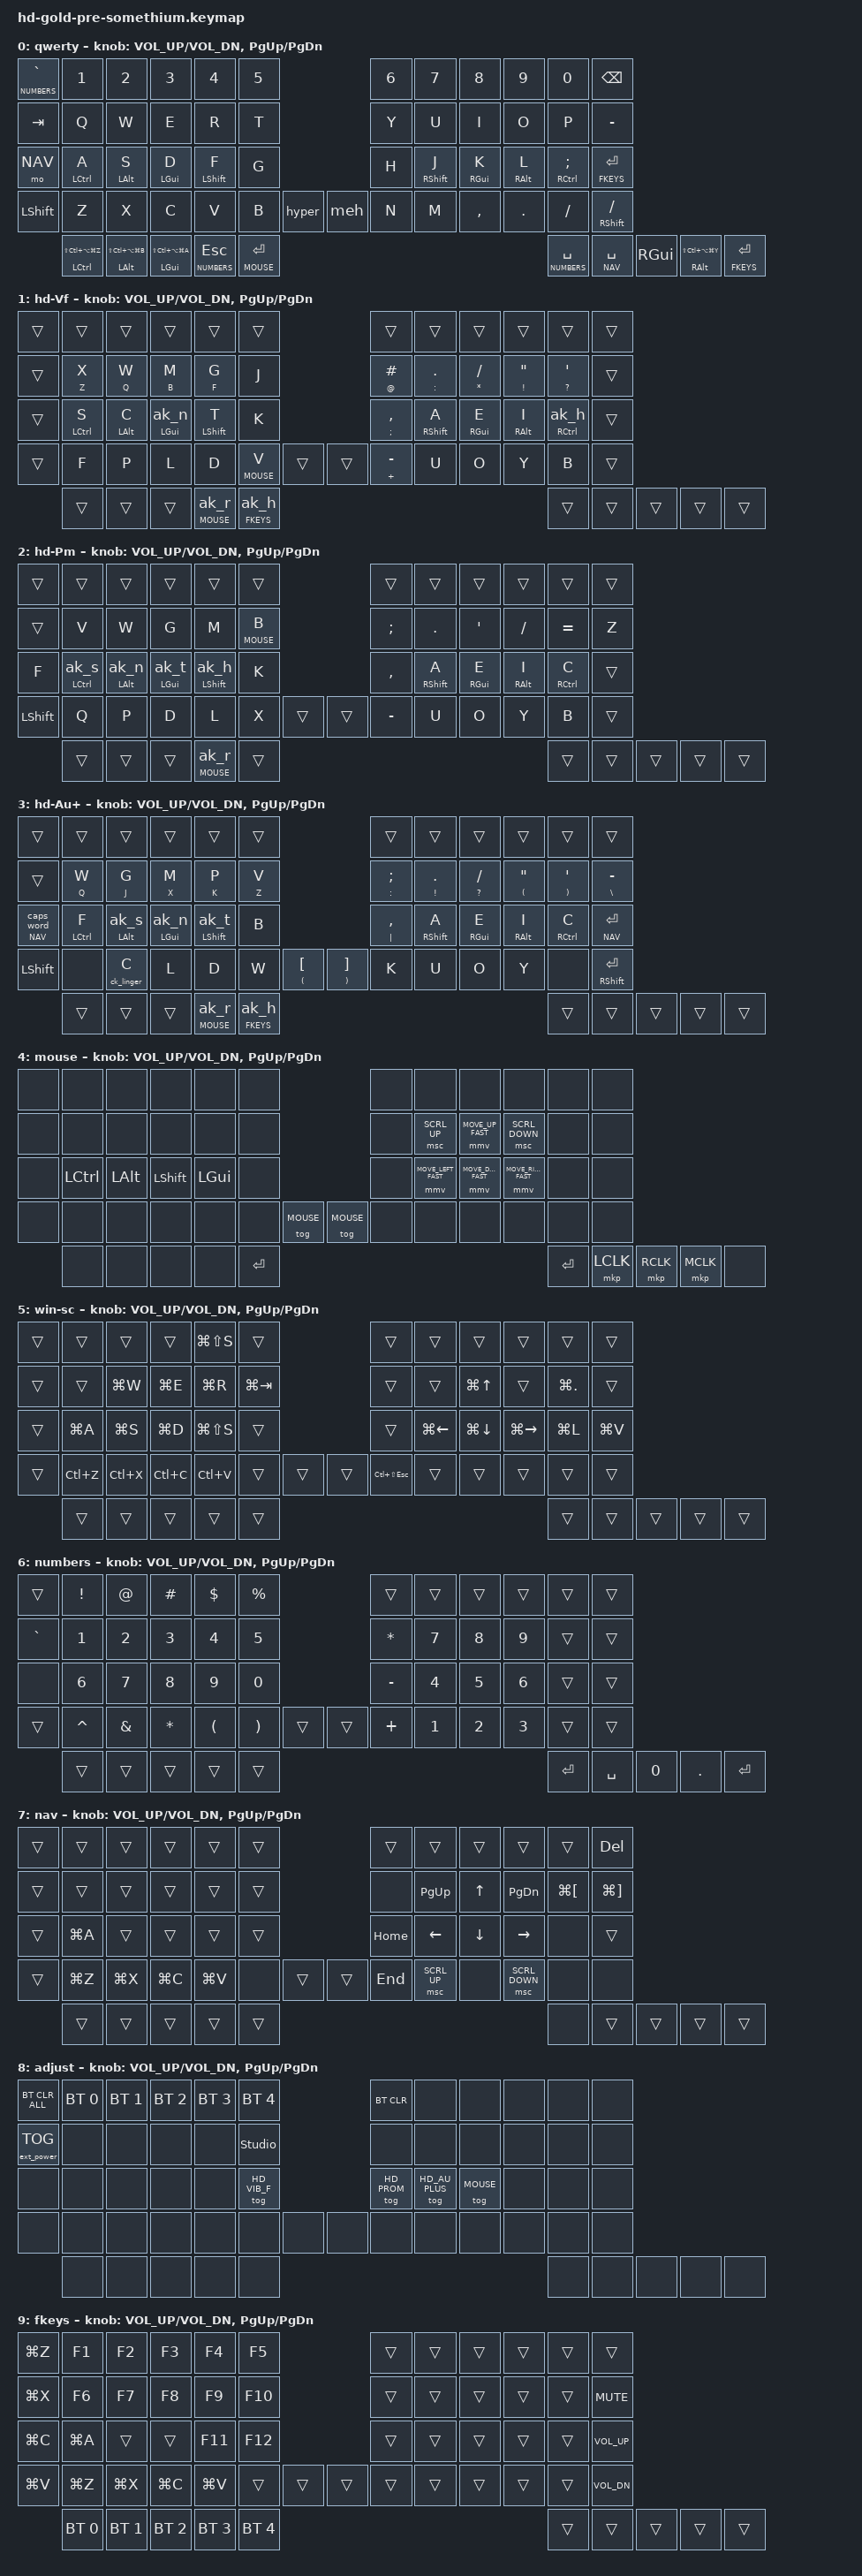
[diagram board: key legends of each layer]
/*
 * Profile: hd-gold
 * Description: HD Gold on layer 3, Enth+ on layer 1, H-digraph combos
 * Created: 2026-03-31
 * Based on: engrammer quad-layout
 */

/*
 * Quad-Layout — SOFLE 60-key
 *
 * Four alpha layouts with shared functional layers.
 *
 * Layers:
 *   0 = QWERTY base with CAGS HRM
 *   1 = Hands Down Vibranium F toggle overlay (SCNTK home, linger keys)
 *   2 = Hands Down Promethium toggle overlay (SNTH home, Magic H)
 *   3 = HD Au+ custom variant (RSNTB home, Magic H on thumb)
 *   4 = Numbers (number grid + numpad, merged)
 *   5 = Nav (arrows, undo/cut/copy/paste)
 *   6 = Adjust (conditional: NAV + NUMBERS — BT, power, toggles)
 *   7 = Fkeys (F1-F12, media, undo/cut/copy/paste, BT, Studio unlock)
 *   8 = Mouse (mouse movement on right OHAE cluster)
 *   9 = Prec (precision mouse — 1/3 speed)
 *
 * Cycle: QWERTY → HD Vib F → HD Promethium → HD Au+ → QWERTY (combo: pos 46+47+48+49)
 */

#include <behaviors.dtsi>
#include <dt-bindings/zmk/bt.h>
#include <dt-bindings/zmk/ext_power.h>
#include <dt-bindings/zmk/keys.h>
#define ZMK_POINTING_DEFAULT_SCRL_VAL 25
#include <dt-bindings/zmk/pointing.h>

#define QWERTY     0
#define HD_VIB_F   1
#define HD_PROM    2
#define HD_AU_PLUS 3
#define MOUSE      4
#define WIN_SC     5
#define NUMBERS    6
#define NAV        7
#define ADJUST     8
#define FKEYS      9

// Mouse movement (195% of ZMK default 600 = 1170)
#ifndef KEYMAP_DRAWER
#define MOVE_UP_FAST    ((-1170) & 0xFFFF)
#define MOVE_DOWN_FAST  ((1170) & 0xFFFF)
#define MOVE_LEFT_FAST  (((-1170) & 0xFFFF) << 16)
#define MOVE_RIGHT_FAST (((1170) & 0xFFFF) << 16)

// Precision mouse movement (1/3 of fast speed)
#define MOVE_UP_SLOW    ((-390) & 0xFFFF)
#define MOVE_DOWN_SLOW  ((390) & 0xFFFF)
#define MOVE_LEFT_SLOW  (((-390) & 0xFFFF) << 16)
#define MOVE_RIGHT_SLOW (((390) & 0xFFFF) << 16)
#endif

/ {
    // Activate ADJUST layer by pressing NAV and NUMBERS together
    conditional_layers {
        compatible = "zmk,conditional-layers";

        adjust_layer {
            if-layers = <NAV NUMBERS>;
            then-layer = <ADJUST>;
        };
    };

    combos {
        compatible = "zmk,combos";

        // ── ZMK Studio unlock: top-left + top-right ──────────────
        studio_unlock_combo {
            bindings = <&studio_unlock>;
            key-positions = <0 11>;
        };

        // ── Windows shortcuts layer: hold pos 34+35 or 24+25 ─────
        win_sc_combo_r {
            bindings = <&mo WIN_SC>;
            key-positions = <34 35>;
            timeout-ms = <50>;
            slow-release;
        };

        win_sc_combo_l {
            bindings = <&mo WIN_SC>;
            key-positions = <24 25>;
            timeout-ms = <50>;
            slow-release;
        };

        // ── Escape combos ─────────────────────────────────────────
        esc {
            bindings = <&kp ESCAPE>;
            key-positions = <25 41>;
        };

        esc2 {
            bindings = <&kp ESCAPE>;
            key-positions = <0 12>;
        };

        esc3 {
            bindings = <&kp ESCAPE>;
            key-positions = <0 1>;
        };

        // ── Thumb fat-finger protection ───────────────────────────
        thumb_fatfinger {
            bindings = <&kp ENTER>;
            key-positions = <54 55>;
        };

        thumb_fatfinger_left {
            bindings = <&kp SPACE>;
            key-positions = <52 53>;
        };

        thumb_fatfinger_right {
            bindings = <&kp SPACE>;
            key-positions = <56 57>;
        };

        // ── Layout cycle: QWERTY → HD Vib V → HD Vib P → HD Gold → QWERTY
        layout_to_hd_vib_f {
            bindings = <&tog HD_VIB_F>;
            key-positions = <46 47 48 49>;
            layers = <QWERTY>;
        };

        layout_to_hd_prom {
            bindings = <&hd_vib_f_to_hd_prom>;
            key-positions = <46 47 48 49>;
            layers = <HD_VIB_F>;
        };

        layout_to_hd_gold {
            bindings = <&hd_prom_to_hd_au_plus>;
            key-positions = <46 47 48 49>;
            layers = <HD_PROM>;
        };

        layout_to_enth_m {
            bindings = <&tog HD_AU_PLUS>;
            key-positions = <46 47 48 49>;
            layers = <HD_AU_PLUS>;
        };

        // ── Numbers toggle: G+H positions ─────────────────────────
        numbers_toggle {
            bindings = <&tog NUMBERS>;
            key-positions = <29 30>;
        };

        // ── Fat-finger protection: QWERTY ────────────────────────
        fatfinger_del_q {
            bindings = <&kp B>;
            key-positions = <41 42>;
            layers = <QWERTY>;
        };

        fatfinger_bksp_q {
            bindings = <&kp N>;
            key-positions = <44 43>;
            layers = <QWERTY>;
        };

        // ── Fat-finger protection: HD Vibranium V ─────────────────
        fatfinger_del_hd_vib_f {
            bindings = <&kp V>;
            key-positions = <41 42>;
            layers = <HD_VIB_F>;
        };

        fatfinger_bksp_hd_vib_f {
            bindings = <&kp MINUS>;
            key-positions = <44 43>;
            layers = <HD_VIB_F>;
        };

        // ── Fat-finger protection: HD Promethium ─────────────────
        fatfinger_del_hd_prom {
            bindings = <&kp J>;
            key-positions = <41 42>;
            layers = <HD_PROM>;
        };

        fatfinger_bksp_hd_prom {
            bindings = <&kp MINUS>;
            key-positions = <44 43>;
            layers = <HD_PROM>;
        };

        // ── Fat-finger protection: HD Au+ ────────────────────────
        // pos 41+42 is now KH combo, no fat-finger needed
        fatfinger_bksp_au_plus {
            bindings = <&kp SQT>;
            key-positions = <44 43>;
            layers = <HD_AU_PLUS>;
        };

        // ── R fat-finger: HD Vibranium V and P (R+Enter → R) ─────
        r_fatfinger_hd_vib_f {
            bindings = <&kp R>;
            key-positions = <53 54>;
            layers = <HD_VIB_F>;
        };

        r_fatfinger_hd_prom {
            bindings = <&kp R>;
            key-positions = <53 54>;
            layers = <HD_PROM>;
        };

        // ── H fat-finger: Au+ (H+Space → H) ─────────────────────
        h_fatfinger_au_plus {
            bindings = <&kp H>;
            key-positions = <53 54>;
            layers = <HD_AU_PLUS>;
        };

        // ── H-digraph combos: HD Promethium (SNTH home, H at 28)
        // TH = T(27)+H(28), SH = S(25)+N(26), GH = G(39)+M(40)
        // PH = P(14)+D(15), WH = W(38)+G(39)
        // CH skipped — C is on right hand (34), no natural left-hand combo
        th_hd_prom {
            bindings = <&th_lower>;
            key-positions = <27 28>;
            layers = <HD_PROM>;
            timeout-ms = <30>;
        };

        sh_hd_prom {
            bindings = <&sh_lower>;
            key-positions = <25 26>;
            layers = <HD_PROM>;
            timeout-ms = <30>;
        };

        gh_hd_prom {
            bindings = <&gh_lower>;
            key-positions = <15 28>;
            layers = <HD_PROM>;
            timeout-ms = <30>;
        };

        ph_hd_prom {
            bindings = <&ph_lower>;
            key-positions = <38 28>;
            layers = <HD_PROM>;
            timeout-ms = <30>;
        };

        wh_hd_prom {
            bindings = <&wh_lower>;
            key-positions = <14 28>;
            layers = <HD_PROM>;
            timeout-ms = <30>;
        };

        // ── H-digraph title case: HD Promethium (Left Shift)
        tc_th_hd_prom {
            bindings = <&th_title>;
            key-positions = <36 27 28>;
            layers = <HD_PROM>;
            timeout-ms = <50>;
        };

        tc_sh_hd_prom {
            bindings = <&sh_title>;
            key-positions = <36 25 26>;
            layers = <HD_PROM>;
            timeout-ms = <50>;
        };

        tc_gh_hd_prom {
            bindings = <&gh_title>;
            key-positions = <36 15 28>;
            layers = <HD_PROM>;
            timeout-ms = <50>;
        };

        tc_ph_hd_prom {
            bindings = <&ph_title>;
            key-positions = <36 38 28>;
            layers = <HD_PROM>;
            timeout-ms = <50>;
        };

        tc_wh_hd_prom {
            bindings = <&wh_title>;
            key-positions = <36 14 28>;
            layers = <HD_PROM>;
            timeout-ms = <50>;
        };

        // ── H-digraph title case: HD Promethium (Right Shift)
        tcr_th_hd_prom {
            bindings = <&th_title>;
            key-positions = <49 27 28>;
            layers = <HD_PROM>;
            timeout-ms = <50>;
        };

        tcr_sh_hd_prom {
            bindings = <&sh_title>;
            key-positions = <49 25 26>;
            layers = <HD_PROM>;
            timeout-ms = <50>;
        };

        tcr_gh_hd_prom {
            bindings = <&gh_title>;
            key-positions = <49 15 28>;
            layers = <HD_PROM>;
            timeout-ms = <50>;
        };

        tcr_ph_hd_prom {
            bindings = <&ph_title>;
            key-positions = <49 38 28>;
            layers = <HD_PROM>;
            timeout-ms = <50>;
        };

        tcr_wh_hd_prom {
            bindings = <&wh_title>;
            key-positions = <49 14 28>;
            layers = <HD_PROM>;
            timeout-ms = <50>;
        };

        // QU combo not needed on Promethium — Q is linger on W(38)

        // ── H-digraph combos: HD Vibranium V (CSNTK, left hand) ──
        th_hd_vib_f {
            bindings = <&th_lower>;
            key-positions = <27 28>;
            layers = <HD_VIB_F>;
            timeout-ms = <30>;
        };

        sh_hd_vib_f {
            bindings = <&sh_lower>;
            key-positions = <25 26>;
            layers = <HD_VIB_F>;
            timeout-ms = <30>;
        };

        ch_hd_vib_f {
            bindings = <&ch_lower>;
            key-positions = <26 27>;
            layers = <HD_VIB_F>;
            timeout-ms = <30>;
        };

        gh_hd_vib_f {
            bindings = <&gh_lower>;
            key-positions = <15 16>;
            layers = <HD_VIB_F>;
            timeout-ms = <30>;
        };

        wh_hd_vib_f {
            bindings = <&wh_lower>;
            key-positions = <14 15>;
            layers = <HD_VIB_F>;
            timeout-ms = <30>;
        };

        tc_wh_hd_vib_f {
            bindings = <&wh_title>;
            key-positions = <36 14 15>;
            layers = <HD_VIB_F>;
            timeout-ms = <50>;
        };

        tcr_wh_hd_vib_f {
            bindings = <&wh_title>;
            key-positions = <49 14 15>;
            layers = <HD_VIB_F>;
            timeout-ms = <50>;
        };

        // ── H-digraph title case: HD Vib V (Left Shift)
        tc_th_hd_vib_f {
            bindings = <&th_title>;
            key-positions = <36 27 28>;
            layers = <HD_VIB_F>;
            timeout-ms = <50>;
        };

        tc_sh_hd_vib_f {
            bindings = <&sh_title>;
            key-positions = <36 25 26>;
            layers = <HD_VIB_F>;
            timeout-ms = <50>;
        };

        tc_ch_hd_vib_f {
            bindings = <&ch_title>;
            key-positions = <36 26 27>;
            layers = <HD_VIB_F>;
            timeout-ms = <50>;
        };

        tc_gh_hd_vib_f {
            bindings = <&gh_title>;
            key-positions = <36 15 16>;
            layers = <HD_VIB_F>;
            timeout-ms = <50>;
        };

        // ── H-digraph title case: HD Vib V (Right Shift)
        tcr_th_hd_vib_f {
            bindings = <&th_title>;
            key-positions = <49 27 28>;
            layers = <HD_VIB_F>;
            timeout-ms = <50>;
        };

        tcr_sh_hd_vib_f {
            bindings = <&sh_title>;
            key-positions = <49 25 26>;
            layers = <HD_VIB_F>;
            timeout-ms = <50>;
        };

        tcr_ch_hd_vib_f {
            bindings = <&ch_title>;
            key-positions = <49 26 27>;
            layers = <HD_VIB_F>;
            timeout-ms = <50>;
        };

        tcr_gh_hd_vib_f {
            bindings = <&gh_title>;
            key-positions = <49 15 16>;
            layers = <HD_VIB_F>;
            timeout-ms = <50>;
        };

        // ── Au+ combos: SH=S+N, CH=C+L, TH=N+T, QU=J+G ─────
        sh_au_plus {
            bindings = <&sh_lower>;
            key-positions = <26 27>;
            layers = <HD_AU_PLUS>;
            timeout-ms = <30>;
        };

        ch_au_plus {
            bindings = <&ch_lower>;
            key-positions = <38 39>;
            layers = <HD_AU_PLUS>;
            timeout-ms = <30>;
        };

        th_au_plus {
            bindings = <&th_lower>;
            key-positions = <27 28>;
            layers = <HD_AU_PLUS>;
            timeout-ms = <30>;
        };

        // Au+ title case (left shift)
        tc_sh_au_plus {
            bindings = <&sh_title>;
            key-positions = <36 26 27>;
            layers = <HD_AU_PLUS>;
            timeout-ms = <50>;
        };

        tc_ch_au_plus {
            bindings = <&ch_title>;
            key-positions = <36 38 39>;
            layers = <HD_AU_PLUS>;
            timeout-ms = <50>;
        };

        tc_th_au_plus {
            bindings = <&th_title>;
            key-positions = <36 27 28>;
            layers = <HD_AU_PLUS>;
            timeout-ms = <50>;
        };

        // Au+ title case (right shift)
        tcr_sh_au_plus {
            bindings = <&sh_title>;
            key-positions = <49 26 27>;
            layers = <HD_AU_PLUS>;
            timeout-ms = <50>;
        };

        tcr_ch_au_plus {
            bindings = <&ch_title>;
            key-positions = <49 38 39>;
            layers = <HD_AU_PLUS>;
            timeout-ms = <50>;
        };

        tcr_th_au_plus {
            bindings = <&th_title>;
            key-positions = <49 27 28>;
            layers = <HD_AU_PLUS>;
            timeout-ms = <50>;
        };

        // ── Additional Au+ H-digraphs: PH, GH, KH, WH ──────────
        ph_au_plus {
            bindings = <&ph_lower>;
            key-positions = <16 17>;
            layers = <HD_AU_PLUS>;
            timeout-ms = <30>;
        };

        gh_au_plus {
            bindings = <&gh_lower>;
            key-positions = <14 15>;
            layers = <HD_AU_PLUS>;
            timeout-ms = <30>;
        };

        kh_au_plus {
            bindings = <&kh_lower>;
            key-positions = <44 45>;
            layers = <HD_AU_PLUS>;
            timeout-ms = <30>;
        };

        sc_au_plus {
            bindings = <&sc_lower>;
            key-positions = <26 40>;
            layers = <HD_AU_PLUS>;
            timeout-ms = <30>;
        };

        wh_au_plus {
            bindings = <&wh_lower>;
            key-positions = <40 41>;
            layers = <HD_AU_PLUS>;
            timeout-ms = <30>;
        };

        tc_ph_au_plus {
            bindings = <&ph_title>;
            key-positions = <36 16 17>;
            layers = <HD_AU_PLUS>;
            timeout-ms = <50>;
        };

        tc_gh_au_plus {
            bindings = <&gh_title>;
            key-positions = <36 14 15>;
            layers = <HD_AU_PLUS>;
            timeout-ms = <50>;
        };

        tc_wh_au_plus {
            bindings = <&wh_title>;
            key-positions = <36 40 41>;
            layers = <HD_AU_PLUS>;
            timeout-ms = <50>;
        };

        tcr_ph_au_plus {
            bindings = <&ph_title>;
            key-positions = <49 16 17>;
            layers = <HD_AU_PLUS>;
            timeout-ms = <50>;
        };

        tcr_gh_au_plus {
            bindings = <&gh_title>;
            key-positions = <49 14 15>;
            layers = <HD_AU_PLUS>;
            timeout-ms = <50>;
        };

        tcr_wh_au_plus {
            bindings = <&wh_title>;
            key-positions = <49 40 41>;
            layers = <HD_AU_PLUS>;
            timeout-ms = <50>;
        };

        // ── Au+ punct combos ─────────────────────────────────────
        equal_au_plus {
            bindings = <&kp EQUAL>;
            key-positions = <22 23>;
            layers = <HD_AU_PLUS>;
            timeout-ms = <30>;
        };

        bslh_au_plus {
            bindings = <&kp BSLH>;
            key-positions = <20 21>;
            layers = <HD_AU_PLUS>;
            timeout-ms = <30>;
        };

        // ── QU combos: W+G (13+14) ──────────────────────────────
        qu_combo {
            bindings = <&qu_lower>;
            key-positions = <13 14>;
            layers = <QWERTY HD_VIB_F HD_AU_PLUS>;
            timeout-ms = <30>;
        };

        tc_qu_combo {
            bindings = <&qu_title>;
            key-positions = <36 13 14>;
            layers = <QWERTY HD_VIB_F HD_AU_PLUS>;
            timeout-ms = <50>;
        };

        tcr_qu_combo {
            bindings = <&qu_title>;
            key-positions = <49 13 14>;
            layers = <QWERTY HD_VIB_F HD_AU_PLUS>;
            timeout-ms = <50>;
        };

        // ── N'T contraction combos ───────────────────────────────
        nt_hd_vib_f {
            bindings = <&nt_contraction>;
            key-positions = <27 40>;
            layers = <HD_VIB_F>;
            timeout-ms = <30>;
        };

        nt_hd_prom {
            bindings = <&nt_contraction>;
            key-positions = <26 27>;
            layers = <HD_PROM>;
            timeout-ms = <30>;
        };

        nt_au_plus {
            bindings = <&nt_contraction>;
            key-positions = <27 40>;
            layers = <HD_AU_PLUS>;
            timeout-ms = <30>;
        };

        // ── T'S contraction: T(28) + S ─────────────────────────
        ts_vf {
            bindings = <&ts_contraction>;
            key-positions = <28 25>;
            layers = <HD_VIB_F>;
            timeout-ms = <30>;
        };

        ts_au_plus {
            bindings = <&ts_contraction>;
            key-positions = <28 26>;
            layers = <HD_AU_PLUS>;
            timeout-ms = <30>;
        };

        // ── 'RE contraction: R + E ───────────────────────────────
        re_hd_vib {
            bindings = <&re_contraction>;
            key-positions = <53 32>;
            layers = <HD_VIB_F HD_PROM>;
            timeout-ms = <30>;
        };

        re_au_plus {
            bindings = <&re_contraction>;
            key-positions = <53 32>;
            layers = <HD_AU_PLUS>;
            timeout-ms = <30>;
        };

        // ── Au+ word combos: wt/tho/thi/tha → with/those/this/that
        // W=13, T=28, H=54 (thumb ak_h), I=33, A=31, O=46
        word_with_au {
            bindings = <&word_with>;
            key-positions = <13 28>;
            layers = <HD_AU_PLUS>;
            timeout-ms = <75>;
        };

        word_those_au {
            bindings = <&word_those>;
            key-positions = <28 54 46>;
            layers = <HD_AU_PLUS>;
            timeout-ms = <100>;
        };

        word_this_au {
            bindings = <&word_this>;
            key-positions = <28 54 33>;
            layers = <HD_AU_PLUS>;
            timeout-ms = <100>;
        };

        word_that_au {
            bindings = <&word_that>;
            key-positions = <28 54 31>;
            layers = <HD_AU_PLUS>;
            timeout-ms = <100>;
        };

        // ── Prom word combos: wt/tho/thi/tha → with/those/this/that
        // W=14, T=27, H=28 (magic), O=46, I=33, A=31
        word_with_pr {
            bindings = <&word_with>;
            key-positions = <14 27>;
            layers = <HD_PROM>;
            timeout-ms = <50>;
        };

        word_those_pr {
            bindings = <&word_those>;
            key-positions = <27 28 46>;
            layers = <HD_PROM>;
            timeout-ms = <60>;
        };

        word_this_pr {
            bindings = <&word_this>;
            key-positions = <27 28 33>;
            layers = <HD_PROM>;
            timeout-ms = <60>;
        };

        word_that_pr {
            bindings = <&word_that>;
            key-positions = <27 28 31>;
            layers = <HD_PROM>;
            timeout-ms = <60>;
        };

        // ── Prom short-word combos ──────────────────────────────
        word_the_pr {
            bindings = <&word_the>;
            key-positions = <27 28 32>;
            layers = <HD_PROM>;
            timeout-ms = <60>;
        };

        word_and_pr {
            bindings = <&word_and>;
            key-positions = <31 26 39>;
            layers = <HD_PROM>;
            timeout-ms = <60>;
        };

        word_of_pr {
            bindings = <&word_of>;
            key-positions = <46 37>;
            layers = <HD_PROM>;
            timeout-ms = <50>;
        };

        word_to_pr {
            bindings = <&word_to>;
            key-positions = <27 46>;
            layers = <HD_PROM>;
            timeout-ms = <50>;
        };

        word_in_pr {
            bindings = <&word_in>;
            key-positions = <33 26>;
            layers = <HD_PROM>;
            timeout-ms = <50>;
        };

        word_is_pr {
            bindings = <&word_is>;
            key-positions = <33 25>;
            layers = <HD_PROM>;
            timeout-ms = <50>;
        };

        word_for_pr {
            bindings = <&word_for>;
            key-positions = <37 46 53>;
            layers = <HD_PROM>;
            timeout-ms = <60>;
        };

        word_you_pr {
            bindings = <&word_you>;
            key-positions = <47 46 45>;
            layers = <HD_PROM>;
            timeout-ms = <60>;
        };

        // ── Prom contraction combos ─────────────────────────────
        ll_pr {
            bindings = <&ll_contraction>;
            key-positions = <40 41>;
            layers = <HD_PROM>;
            timeout-ms = <40>;
        };

        ve_pr {
            bindings = <&ve_contraction>;
            key-positions = <13 32>;
            layers = <HD_PROM>;
            timeout-ms = <50>;
        };

        d_pr {
            bindings = <&d_contraction>;
            key-positions = <39 32>;
            layers = <HD_PROM>;
            timeout-ms = <50>;
        };

        m_pr {
            bindings = <&m_contraction>;
            key-positions = <16 32>;
            layers = <HD_PROM>;
            timeout-ms = <50>;
        };

        s_pr {
            bindings = <&s_contraction>;
            key-positions = <25 27>;
            layers = <HD_PROM>;
            timeout-ms = <40>;
        };
    };

    macros {
        hyper: hyper {
            compatible = "zmk,behavior-macro";
            #binding-cells = <0>;
            bindings
                = <&macro_press &kp LSHFT &kp LCTRL &kp LALT &kp LGUI>
                , <&macro_pause_for_release>
                , <&macro_release &kp LSHFT &kp LCTRL &kp LALT &kp LGUI>
                ;
        };

        hyper_space: hyper_space {
            compatible = "zmk,behavior-macro";
            #binding-cells = <0>;
            bindings
                = <&macro_press &kp LSHFT &kp LCTRL &kp LALT &kp LGUI>
                , <&macro_tap &kp SPACE>
                , <&macro_release &kp LSHFT &kp LCTRL &kp LALT &kp LGUI>
                ;
        };

        hyper_f: hyper_f {
            compatible = "zmk,behavior-macro";
            #binding-cells = <0>;
            bindings
                = <&macro_press &kp LSHFT &kp LCTRL &kp LALT &kp LGUI>
                , <&macro_tap &kp F>
                , <&macro_release &kp LSHFT &kp LCTRL &kp LALT &kp LGUI>
                ;
        };

        meh_f: meh_f {
            compatible = "zmk,behavior-macro";
            #binding-cells = <0>;
            bindings
                = <&macro_press &kp RSHFT &kp RCTRL &kp RALT>
                , <&macro_tap &kp F>
                , <&macro_release &kp RSHFT &kp RCTRL &kp RALT>
                ;
        };

        meh: meh {
            compatible = "zmk,behavior-macro";
            #binding-cells = <0>;
            bindings
                = <&macro_press &kp LSHFT &kp LCTRL &kp LALT>
                , <&macro_pause_for_release>
                , <&macro_release &kp LSHFT &kp LCTRL &kp LALT>
                ;
        };

        hd_vib_f_to_hd_prom: hd_vib_f_to_hd_prom {
            compatible = "zmk,behavior-macro";
            #binding-cells = <0>;
            wait-ms = <0>;
            tap-ms = <0>;
            bindings = <&tog HD_VIB_F &tog HD_PROM>;
        };

        hd_prom_to_hd_au_plus: hd_prom_to_hd_au_plus {
            compatible = "zmk,behavior-macro";
            #binding-cells = <0>;
            wait-ms = <0>;
            tap-ms = <0>;
            bindings = <&tog HD_PROM &tog HD_AU_PLUS>;
        };

        // ── N'T contraction macro ─────────────────────────────────
        nt_contraction: nt_contraction {
            compatible = "zmk,behavior-macro";
            #binding-cells = <0>;
            wait-ms = <0>;
            tap-ms = <0>;
            bindings = <&kp N &kp SQT &kp T>;
        };

        // ── QU digraph macros ─────────────────────────────────────
        qu_lower: qu_lower {
            compatible = "zmk,behavior-macro";
            #binding-cells = <0>;
            wait-ms = <0>;
            tap-ms = <0>;
            bindings = <&kp Q &kp U>;
        };

        qu_title: qu_title {
            compatible = "zmk,behavior-macro";
            #binding-cells = <0>;
            wait-ms = <0>;
            tap-ms = <0>;
            bindings
                = <&macro_press &kp LSHFT>
                , <&macro_tap &kp Q>
                , <&macro_release &kp LSHFT>
                , <&macro_tap &kp U>
                ;
        };

        // ── 'RE contraction macro ─────────────────────────────────
        re_contraction: re_contraction {
            compatible = "zmk,behavior-macro";
            #binding-cells = <0>;
            wait-ms = <0>;
            tap-ms = <0>;
            bindings = <&kp SQT &kp R &kp E>;
        };

        // ── Possessive/contraction macro ─────────────────────────
        ts_contraction: ts_contraction {
            compatible = "zmk,behavior-macro";
            #binding-cells = <0>;
            wait-ms = <0>;
            tap-ms = <0>;
            bindings = <&kp T &kp SQT &kp S>;
        };

        // ── SC digraph macro ──────────────────────────────────────
        sc_lower: sc_lower {
            compatible = "zmk,behavior-macro";
            #binding-cells = <0>;
            wait-ms = <0>;
            tap-ms = <0>;
            bindings = <&kp S &kp C>;
        };

        // ── KH digraph macro ──────────────────────────────────────
        kh_lower: kh_lower {
            compatible = "zmk,behavior-macro";
            #binding-cells = <0>;
            wait-ms = <0>;
            tap-ms = <0>;
            bindings = <&kp K &kp H>;
        };

        // ── Linger macros (hold = multi-char sequence) ─────────
        ck_linger: ck_linger {
            compatible = "zmk,behavior-macro";
            #binding-cells = <0>;
            wait-ms = <0>;
            tap-ms = <0>;
            bindings = <&kp C &kp K>;
        };

        fr_linger: fr_linger {
            compatible = "zmk,behavior-macro";
            #binding-cells = <0>;
            wait-ms = <0>;
            tap-ms = <0>;
            bindings = <&kp F &kp R>;
        };

        // ── H-digraph macros (lowercase) ────────────────────────
        th_lower: th_lower {
            compatible = "zmk,behavior-macro";
            #binding-cells = <0>;
            wait-ms = <0>;
            tap-ms = <0>;
            bindings = <&kp T &kp H>;
        };

        sh_lower: sh_lower {
            compatible = "zmk,behavior-macro";
            #binding-cells = <0>;
            wait-ms = <0>;
            tap-ms = <0>;
            bindings = <&kp S &kp H>;
        };

        ch_lower: ch_lower {
            compatible = "zmk,behavior-macro";
            #binding-cells = <0>;
            wait-ms = <0>;
            tap-ms = <0>;
            bindings = <&kp C &kp H>;
        };

        gh_lower: gh_lower {
            compatible = "zmk,behavior-macro";
            #binding-cells = <0>;
            wait-ms = <0>;
            tap-ms = <0>;
            bindings = <&kp G &kp H>;
        };

        ph_lower: ph_lower {
            compatible = "zmk,behavior-macro";
            #binding-cells = <0>;
            wait-ms = <0>;
            tap-ms = <0>;
            bindings = <&kp P &kp H>;
        };

        wh_lower: wh_lower {
            compatible = "zmk,behavior-macro";
            #binding-cells = <0>;
            wait-ms = <0>;
            tap-ms = <0>;
            bindings = <&kp W &kp H>;
        };

        // ── H-digraph macros (title case: Shift+combo → Th, Sh…)
        // First letter inherits held shift → uppercase,
        // then shift released so H comes out lowercase.
        // Title case macros: explicitly press shift for first letter, then release for H
        th_title: th_title {
            compatible = "zmk,behavior-macro";
            #binding-cells = <0>;
            wait-ms = <0>;
            tap-ms = <0>;
            bindings
                = <&macro_press &kp LSHFT>
                , <&macro_tap &kp T>
                , <&macro_release &kp LSHFT>
                , <&macro_tap &kp H>
                ;
        };

        sh_title: sh_title {
            compatible = "zmk,behavior-macro";
            #binding-cells = <0>;
            wait-ms = <0>;
            tap-ms = <0>;
            bindings
                = <&macro_press &kp LSHFT>
                , <&macro_tap &kp S>
                , <&macro_release &kp LSHFT>
                , <&macro_tap &kp H>
                ;
        };

        ch_title: ch_title {
            compatible = "zmk,behavior-macro";
            #binding-cells = <0>;
            wait-ms = <0>;
            tap-ms = <0>;
            bindings
                = <&macro_press &kp LSHFT>
                , <&macro_tap &kp C>
                , <&macro_release &kp LSHFT>
                , <&macro_tap &kp H>
                ;
        };

        gh_title: gh_title {
            compatible = "zmk,behavior-macro";
            #binding-cells = <0>;
            wait-ms = <0>;
            tap-ms = <0>;
            bindings
                = <&macro_press &kp LSHFT>
                , <&macro_tap &kp G>
                , <&macro_release &kp LSHFT>
                , <&macro_tap &kp H>
                ;
        };

        ph_title: ph_title {
            compatible = "zmk,behavior-macro";
            #binding-cells = <0>;
            wait-ms = <0>;
            tap-ms = <0>;
            bindings
                = <&macro_press &kp LSHFT>
                , <&macro_tap &kp P>
                , <&macro_release &kp LSHFT>
                , <&macro_tap &kp H>
                ;
        };

        wh_title: wh_title {
            compatible = "zmk,behavior-macro";
            #binding-cells = <0>;
            wait-ms = <0>;
            tap-ms = <0>;
            bindings
                = <&macro_press &kp LSHFT>
                , <&macro_tap &kp W>
                , <&macro_release &kp LSHFT>
                , <&macro_tap &kp H>
                ;
        };

        // ── Au+ word combos ──────────────────────────────────────
        word_with: word_with {
            compatible = "zmk,behavior-macro";
            #binding-cells = <0>;
            wait-ms = <0>;
            tap-ms = <0>;
            bindings = <&kp W &kp I &kp T &kp H>;
        };

        word_those: word_those {
            compatible = "zmk,behavior-macro";
            #binding-cells = <0>;
            wait-ms = <0>;
            tap-ms = <0>;
            bindings = <&kp T &kp H &kp O &kp S &kp E>;
        };

        word_this: word_this {
            compatible = "zmk,behavior-macro";
            #binding-cells = <0>;
            wait-ms = <0>;
            tap-ms = <0>;
            bindings = <&kp T &kp H &kp I &kp S>;
        };

        word_that: word_that {
            compatible = "zmk,behavior-macro";
            #binding-cells = <0>;
            wait-ms = <0>;
            tap-ms = <0>;
            bindings = <&kp T &kp H &kp A &kp T>;
        };

        // ── Prom short-word macros ──────────────────────────────
        word_the: word_the {
            compatible = "zmk,behavior-macro";
            #binding-cells = <0>;
            wait-ms = <0>;
            tap-ms = <0>;
            bindings = <&kp T &kp H &kp E>;
        };

        word_and: word_and {
            compatible = "zmk,behavior-macro";
            #binding-cells = <0>;
            wait-ms = <0>;
            tap-ms = <0>;
            bindings = <&kp A &kp N &kp D>;
        };

        word_of: word_of {
            compatible = "zmk,behavior-macro";
            #binding-cells = <0>;
            wait-ms = <0>;
            tap-ms = <0>;
            bindings = <&kp O &kp F>;
        };

        word_to: word_to {
            compatible = "zmk,behavior-macro";
            #binding-cells = <0>;
            wait-ms = <0>;
            tap-ms = <0>;
            bindings = <&kp T &kp O>;
        };

        word_in: word_in {
            compatible = "zmk,behavior-macro";
            #binding-cells = <0>;
            wait-ms = <0>;
            tap-ms = <0>;
            bindings = <&kp I &kp N>;
        };

        word_is: word_is {
            compatible = "zmk,behavior-macro";
            #binding-cells = <0>;
            wait-ms = <0>;
            tap-ms = <0>;
            bindings = <&kp I &kp S>;
        };

        word_for: word_for {
            compatible = "zmk,behavior-macro";
            #binding-cells = <0>;
            wait-ms = <0>;
            tap-ms = <0>;
            bindings = <&kp F &kp O &kp R>;
        };

        word_you: word_you {
            compatible = "zmk,behavior-macro";
            #binding-cells = <0>;
            wait-ms = <0>;
            tap-ms = <0>;
            bindings = <&kp Y &kp O &kp U>;
        };

        // ── Prom contraction macros ─────────────────────────────
        ll_contraction: ll_contraction {
            compatible = "zmk,behavior-macro";
            #binding-cells = <0>;
            wait-ms = <0>;
            tap-ms = <0>;
            bindings = <&kp SQT &kp L &kp L>;
        };

        ve_contraction: ve_contraction {
            compatible = "zmk,behavior-macro";
            #binding-cells = <0>;
            wait-ms = <0>;
            tap-ms = <0>;
            bindings = <&kp SQT &kp V &kp E>;
        };

        d_contraction: d_contraction {
            compatible = "zmk,behavior-macro";
            #binding-cells = <0>;
            wait-ms = <0>;
            tap-ms = <0>;
            bindings = <&kp SQT &kp D>;
        };

        m_contraction: m_contraction {
            compatible = "zmk,behavior-macro";
            #binding-cells = <0>;
            wait-ms = <0>;
            tap-ms = <0>;
            bindings = <&kp SQT &kp M>;
        };

        s_contraction: s_contraction {
            compatible = "zmk,behavior-macro";
            #binding-cells = <0>;
            wait-ms = <0>;
            tap-ms = <0>;
            bindings = <&kp SQT &kp S>;
        };
    };

    behaviors {

        hml: home_row_mod_left {
            compatible = "zmk,behavior-hold-tap";
            #binding-cells = <2>;
            flavor = "balanced";
            tapping-term-ms = <280>;
            quick-tap-ms = <175>;
            require-prior-idle-ms = <150>;
            bindings = <&kp>, <&kp>;
            hold-trigger-key-positions = <6 7 8 9 10 11 18 19 20 21 22 23 30 31 32 33 34 35 43 44 45 46 47 48 49 50 51 52 53 54 55 56 57 58 59>;
            hold-trigger-on-release;
        };

        hmr: home_row_mod_right {
            compatible = "zmk,behavior-hold-tap";
            #binding-cells = <2>;
            flavor = "balanced";
            tapping-term-ms = <280>;
            quick-tap-ms = <175>;
            require-prior-idle-ms = <150>;
            bindings = <&kp>, <&kp>;
            hold-trigger-key-positions = <0 1 2 3 4 5 12 13 14 15 16 17 24 25 26 27 28 29 36 37 38 39 40 41 42 50 51 52 53 54 55 56 57 58 59>;
            hold-trigger-on-release;
        };

        hml_g: home_row_mod_left_gui {
            compatible = "zmk,behavior-hold-tap";
            #binding-cells = <2>;
            flavor = "balanced";
            tapping-term-ms = <280>;
            quick-tap-ms = <175>;
            require-prior-idle-ms = <350>;
            bindings = <&kp>, <&kp>;
            hold-trigger-key-positions = <6 7 8 9 10 11 18 19 20 21 22 23 30 31 32 33 34 35 43 44 45 46 47 48 49 50 51 52 53 54 55 56 57 58 59>;
            hold-trigger-on-release;
        };

        hmr_g: home_row_mod_right_gui {
            compatible = "zmk,behavior-hold-tap";
            #binding-cells = <2>;
            flavor = "balanced";
            tapping-term-ms = <280>;
            quick-tap-ms = <175>;
            require-prior-idle-ms = <350>;
            bindings = <&kp>, <&kp>;
            hold-trigger-key-positions = <0 1 2 3 4 5 12 13 14 15 16 17 24 25 26 27 28 29 36 37 38 39 40 41 42 50 51 52 53 54 55 56 57 58 59>;
            hold-trigger-on-release;
        };

        lts: layer_tap_smart {
            compatible = "zmk,behavior-hold-tap";
            #binding-cells = <2>;
            flavor = "balanced";
            tapping-term-ms = <280>;
            quick-tap-ms = <175>;
            require-prior-idle-ms = <150>;
            bindings = <&mo>, <&kp>;
        };


        htk: hold_tap_kp {
            compatible = "zmk,behavior-hold-tap";
            #binding-cells = <2>;
            flavor = "balanced";
            tapping-term-ms = <200>;
            quick-tap-ms = <175>;
            bindings = <&kp>, <&kp>;
        };

        // ── Linger hold-taps: hold = macro, tap = key ─────────
        ht_c_ck: ht_c_ck {
            compatible = "zmk,behavior-hold-tap";
            #binding-cells = <2>;
            flavor = "balanced";
            tapping-term-ms = <200>;
            quick-tap-ms = <175>;
            bindings = <&ck_linger>, <&kp>;
        };

        ht_f_fr: ht_f_fr {
            compatible = "zmk,behavior-hold-tap";
            #binding-cells = <2>;
            flavor = "balanced";
            tapping-term-ms = <200>;
            quick-tap-ms = <175>;
            bindings = <&fr_linger>, <&kp>;
        };

        ht_w_wh: ht_w_wh {
            compatible = "zmk,behavior-hold-tap";
            #binding-cells = <2>;
            flavor = "balanced";
            tapping-term-ms = <200>;
            quick-tap-ms = <175>;
            bindings = <&wh_lower>, <&kp>;
        };

        ht_t_th: ht_t_th {
            compatible = "zmk,behavior-hold-tap";
            #binding-cells = <2>;
            flavor = "balanced";
            tapping-term-ms = <200>;
            quick-tap-ms = <175>;
            bindings = <&th_lower>, <&kp>;
        };

        // ── Magic H: adaptive key for Promethium ─────────────
        ak_h: ak_h {
            compatible = "zmk,behavior-adaptive-key";
            #binding-cells = <0>;
            bindings = <&kp H>;

            akt_ah { trigger-keys = <A>; max-prior-idle-ms = <300>; bindings = <&kp U>; };
            akt_eh { trigger-keys = <E>; max-prior-idle-ms = <300>; bindings = <&kp O>; };
            akt_oh { trigger-keys = <O>; max-prior-idle-ms = <300>; bindings = <&kp U>; };
            akt_uh { trigger-keys = <U>; max-prior-idle-ms = <300>; bindings = <&kp A>; };
            akt_ih { trigger-keys = <I>; max-prior-idle-ms = <300>; bindings = <&kp N &kp G>; };
        };

        // ── HRM wrapper for adaptive H on VF (hold=mod, tap=ak_h)
        hmr_ak_h: hmr_ak_h {
            compatible = "zmk,behavior-hold-tap";
            #binding-cells = <2>;
            flavor = "balanced";
            tapping-term-ms = <280>;
            quick-tap-ms = <175>;
            require-prior-idle-ms = <150>;
            bindings = <&kp>, <&ak_h>;
            hold-trigger-key-positions = <0 1 2 3 4 5 12 13 14 15 16 17 24 25 26 27 28 29 36 37 38 39 40 41 42 50 51 52 53 54 55 56 57 58 59>;
            hold-trigger-on-release;
        };

        // ── Hold-tap wrapper for adaptive H on thumb (hold=layer, tap=ak_h)
        lts_ak_h: lts_ak_h {
            compatible = "zmk,behavior-hold-tap";
            #binding-cells = <2>;
            flavor = "balanced";
            tapping-term-ms = <280>;
            quick-tap-ms = <175>;
            require-prior-idle-ms = <150>;
            bindings = <&mo>, <&ak_h>;
            hold-trigger-on-release;
        };

        // ── NAV hold / Caps Word tap ─────────────────────────────
        nav_cw: nav_cw {
            compatible = "zmk,behavior-hold-tap";
            #binding-cells = <2>;
            flavor = "balanced";
            tapping-term-ms = <280>;
            quick-tap-ms = <175>;
            bindings = <&mo>, <&caps_word>;
        };

        // ── Adaptive S: comma then S quickly = 's (magic comma)
        ak_s: ak_s {
            compatible = "zmk,behavior-adaptive-key";
            #binding-cells = <0>;
            bindings = <&kp S>;

            akt_comma_s { trigger-keys = <COMMA>; max-prior-idle-ms = <300>; bindings = <&kp BSPC &kp SQT &kp S>; };
        };

        // ── Adaptive R: comma then R quickly = 'r
        ak_r: ak_r {
            compatible = "zmk,behavior-adaptive-key";
            #binding-cells = <0>;
            bindings = <&kp R>;

            akt_comma_r { trigger-keys = <COMMA>; max-prior-idle-ms = <300>; bindings = <&kp BSPC &kp SQT &kp R>; };
        };

        // ── Adaptive T: comma then T quickly = 't
        ak_t: ak_t {
            compatible = "zmk,behavior-adaptive-key";
            #binding-cells = <0>;
            bindings = <&kp T>;

            akt_comma_t { trigger-keys = <COMMA>; max-prior-idle-ms = <300>; bindings = <&kp BSPC &kp SQT &kp T>; };
        };

        // ── Layer-tap wrapper for adaptive R (hold=layer, tap=ak_r)
        lts_ak_r: lts_ak_r {
            compatible = "zmk,behavior-hold-tap";
            #binding-cells = <2>;
            flavor = "balanced";
            tapping-term-ms = <280>;
            quick-tap-ms = <175>;
            require-prior-idle-ms = <150>;
            bindings = <&mo>, <&ak_r>;
            hold-trigger-on-release;
        };

        // ── HRM wrapper for adaptive T (hold=SHIFT, tap=ak_t)
        hml_ak_t: hml_ak_t {
            compatible = "zmk,behavior-hold-tap";
            #binding-cells = <2>;
            flavor = "balanced";
            tapping-term-ms = <280>;
            quick-tap-ms = <175>;
            require-prior-idle-ms = <150>;
            bindings = <&kp>, <&ak_t>;
            hold-trigger-key-positions = <6 7 8 9 10 11 18 19 20 21 22 23 30 31 32 33 34 35 43 44 45 46 47 48 49 50 51 52 53 54 55 56 57 58 59>;
            hold-trigger-on-release;
        };

        // ── HRM wrapper for adaptive N (hold=ALT, tap=ak_n)
        hml_ak_n: hml_ak_n {
            compatible = "zmk,behavior-hold-tap";
            #binding-cells = <2>;
            flavor = "balanced";
            tapping-term-ms = <280>;
            quick-tap-ms = <175>;
            require-prior-idle-ms = <150>;
            bindings = <&kp>, <&ak_n>;
            hold-trigger-key-positions = <6 7 8 9 10 11 18 19 20 21 22 23 30 31 32 33 34 35 43 44 45 46 47 48 49 50 51 52 53 54 55 56 57 58 59>;
            hold-trigger-on-release;
        };

        // ── HRM wrapper for adaptive S (hold=ALT, tap=ak_s)
        hml_ak_s: hml_ak_s {
            compatible = "zmk,behavior-hold-tap";
            #binding-cells = <2>;
            flavor = "balanced";
            tapping-term-ms = <280>;
            quick-tap-ms = <175>;
            require-prior-idle-ms = <150>;
            bindings = <&kp>, <&ak_s>;
            hold-trigger-key-positions = <6 7 8 9 10 11 18 19 20 21 22 23 30 31 32 33 34 35 43 44 45 46 47 48 49 50 51 52 53 54 55 56 57 58 59>;
            hold-trigger-on-release;
        };

        // ── Adaptive N: C then N quickly = "k" (for VF ck shortcut)
        ak_n: ak_n {
            compatible = "zmk,behavior-adaptive-key";
            #binding-cells = <0>;
            bindings = <&kp N>;

            akt_cn { trigger-keys = <C>; max-prior-idle-ms = <300>; bindings = <&kp K>; };
            akt_tn { trigger-keys = <T>; max-prior-idle-ms = <300>; bindings = <&kp I &kp O &kp N>; };
        };

        // ── HRM wrapper for adaptive N (hold=GUI, tap=ak_n)
        hml_g_ak_n: hml_g_ak_n {
            compatible = "zmk,behavior-hold-tap";
            #binding-cells = <2>;
            flavor = "balanced";
            tapping-term-ms = <280>;
            quick-tap-ms = <175>;
            require-prior-idle-ms = <350>;
            bindings = <&kp>, <&ak_n>;
            hold-trigger-key-positions = <6 7 8 9 10 11 18 19 20 21 22 23 30 31 32 33 34 35 43 44 45 46 47 48 49 50 51 52 53 54 55 56 57 58 59>;
            hold-trigger-on-release;
        };

        td_enc_l: tap_dance_enc_left {
            compatible = "zmk,behavior-tap-dance";
            #binding-cells = <0>;
            tapping-term-ms = <200>;
            bindings = <&none>, <&hyper_f>;
        };

        td_enc_r: tap_dance_enc_right {
            compatible = "zmk,behavior-tap-dance";
            #binding-cells = <0>;
            tapping-term-ms = <200>;
            bindings = <&none>, <&meh_f>;
        };

    };

    keymap {
        compatible = "zmk,keymap";

        // ── Layer 0 — QWERTY ──────────────────────────────────────

        qwerty_layer {
            display-name = "qwerty";

            bindings = <
&lts NUMBERS GRAVE  &kp N1      &kp N2          &kp N3          &kp N4          &kp N5                                          &kp N6              &kp N7          &kp N8          &kp N9          &kp N0              &kp BSPC
&kp TAB        &kp Q           &kp W           &kp E           &kp R           &kp T                                           &kp Y               &kp U           &kp I           &kp O           &kp P               &kp MINUS
&mo NAV        &hml LCTRL A    &hml LALT S     &hml_g LGUI D   &hml LSHFT F    &kp G                                           &kp H               &hmr RSHFT J    &hmr_g RGUI K   &hmr RALT L     &hmr RCTRL SEMI     &lts FKEYS ENTER
&kp LSHFT      &kp Z           &kp X           &kp C           &kp V           &kp B           &hyper          &meh            &kp N               &kp M           &kp COMMA       &kp DOT         &kp FSLH            &mt RSHFT FSLH
               &htk LCTRL LS(LC(LA(LG(Z))))  &htk LALT LS(LC(LA(LG(B))))  &htk LGUI LS(LC(LA(LG(A))))  &lts NUMBERS ESC    &lts MOUSE ENTER                         &lts NUMBERS SPACE  &lts NAV SPACE      &kp RGUI                      &htk RALT LS(LC(LA(LG(Y))))     &lts FKEYS ENTER
            >;

            sensor-bindings = <&inc_dec_kp C_VOL_UP C_VOL_DN &inc_dec_kp PG_UP PG_DN>;
        };

        // ── Layer 1 — Hands Down Vibranium F (SCNTK home, linger keys)

        hd_vib_f_layer {
            display-name = "hd-Vf";

            bindings = <
&trans         &trans          &trans          &trans          &trans          &trans                                          &trans              &trans          &trans          &trans          &trans              &trans
&trans         &htk Z X        &htk Q W        &htk B M        &htk F G        &kp J                                           &htk AT HASH        &htk COLON DOT  &htk ASTRK FSLH &htk EXCL DQT   &htk QMARK SQT      &trans
&trans         &hml LCTRL S    &hml LALT C     &hml_g_ak_n LGUI 0  &hml LSHFT T    &kp K                                       &htk SEMI COMMA     &hmr RSHFT A    &hmr_g RGUI E   &hmr RALT I     &hmr_ak_h RCTRL 0   &trans
&trans         &kp F           &kp P           &kp L           &kp D           &lts MOUSE V    &trans          &trans          &htk PLUS MINUS     &kp U           &kp O           &kp Y           &kp B               &trans
               &trans          &trans          &trans          &lts_ak_r MOUSE 0  &lts_ak_h FKEYS 0                             &trans              &trans          &trans          &trans          &trans
            >;

            sensor-bindings = <&inc_dec_kp C_VOL_UP C_VOL_DN &inc_dec_kp PG_UP PG_DN>;
        };

        // ── Layer 2 — Hands Down Promethium (Magic H, SNTH home)

        hd_prom_layer {
            display-name = "hd-Pm";

            bindings = <
&trans         &trans          &trans          &trans          &trans          &trans                                          &trans              &trans          &trans          &trans          &trans              &trans
&trans         &kp V           &kp W           &kp G           &kp M           &lts MOUSE B                                    &kp SEMI            &kp DOT         &kp SQT         &kp FSLH        &kp EQUAL           &kp Z
&kp F          &hml_ak_s LCTRL 0  &hml_ak_n LALT 0  &hml_ak_t LGUI 0  &hmr_ak_h LSHFT 0  &kp K                                  &kp COMMA           &hmr RSHFT A    &hmr_g RGUI E   &hmr RALT I     &hmr RCTRL C        &trans
&kp LSHFT      &kp Q           &kp P           &kp D           &kp L           &kp X           &trans          &trans          &kp MINUS           &kp U           &kp O           &kp Y           &kp B               &trans
               &trans          &trans          &trans          &lts_ak_r MOUSE 0  &trans                                       &trans              &trans          &trans          &trans          &trans
            >;

            sensor-bindings = <&inc_dec_kp C_VOL_UP C_VOL_DN &inc_dec_kp PG_UP PG_DN>;
        };

        // ── Layer 3 — HD Au+ (custom Gold variant, Magic H on thumb)

        hd_au_plus_layer {
            display-name = "hd-Au+";

            bindings = <
&trans         &trans          &trans          &trans          &trans          &trans                                          &trans              &trans          &trans          &trans          &trans              &trans
&trans         &htk Q W        &htk J G        &htk X M        &htk K P        &htk Z V                                        &htk COLON SEMI     &htk EXCL DOT   &htk QMARK FSLH &htk LPAR DQT   &htk RPAR SQT       &htk BSLH MINUS
&nav_cw NAV 0  &hml LCTRL F    &hml_ak_s LALT 0  &hml_g_ak_n LGUI 0  &hml_ak_t LSHFT 0   &kp B                                &htk PIPE COMMA     &hmr RSHFT A    &hmr_g RGUI E   &hmr RALT I     &hmr RCTRL C        &lts NAV ENTER
&kp LSHFT      &none           &ht_c_ck 0 C    &kp L           &kp D           &kp W           &htk LPAR LBKT  &htk RPAR RBKT  &kp K               &kp U           &kp O           &kp Y           &none               &mt RSHFT ENTER
               &trans          &trans          &trans          &lts_ak_r MOUSE 0  &lts_ak_h FKEYS 0                             &trans              &trans          &trans          &trans          &trans
            >;

            sensor-bindings = <&inc_dec_kp C_VOL_UP C_VOL_DN &inc_dec_kp PG_UP PG_DN>;
        };

        // ── Layer 4 — Mouse ──────────────────────────────────────

        mouse_layer {
            display-name = "mouse";

            bindings = <
&none          &none           &none           &none           &none           &none                                           &none               &none               &none                &none                &none          &none
&none          &none           &none           &none           &none           &none                                           &none               &msc SCRL_UP        &mmv MOVE_UP_FAST    &msc SCRL_DOWN       &none          &none
&none          &kp LCTRL       &kp LALT        &kp LSHFT       &kp LGUI        &none                                           &none               &mmv MOVE_LEFT_FAST &mmv MOVE_DOWN_FAST  &mmv MOVE_RIGHT_FAST &none          &none
&none          &none           &none           &none           &none           &none           &tog MOUSE      &tog MOUSE      &none               &none               &none                &none                &none          &none
               &none           &none           &none           &none           &kp ENTER                                       &kp ENTER           &mkp LCLK           &mkp RCLK            &mkp MCLK            &none
            >;

            sensor-bindings = <&inc_dec_kp C_VOL_UP C_VOL_DN &inc_dec_kp PG_UP PG_DN>;
        };

        // ── Layer 9 — Windows Shortcuts (combo 34+35 or 24+25) ──

        win_sc_layer {
            display-name = "win-sc";

            bindings = <
&trans         &trans          &trans          &trans          &kp LG(LS(S))   &trans                                          &trans              &trans          &trans          &trans          &trans              &trans
&trans         &trans          &kp LG(W)       &kp LG(E)       &kp LG(R)       &kp LG(TAB)                                     &trans              &trans          &kp LG(UP)      &trans          &kp LG(DOT)         &trans
&trans         &kp LG(A)       &kp LG(S)       &kp LG(D)       &kp LG(LS(S))   &trans                                          &trans              &kp LG(LEFT)    &kp LG(DOWN)    &kp LG(RIGHT)   &kp LG(L)           &kp LG(V)
&trans         &kp LC(Z)       &kp LC(X)       &kp LC(C)       &kp LC(V)       &trans          &trans          &trans          &kp LC(LS(ESC))     &trans          &trans          &trans          &trans              &trans
               &trans          &trans          &trans          &trans          &trans                                          &trans              &trans          &trans          &trans          &trans
            >;

            sensor-bindings = <&inc_dec_kp C_VOL_UP C_VOL_DN &inc_dec_kp PG_UP PG_DN>;
        };

        // ── Layer 7 — Numbers (merged with numpad) ───────────────

        numbers_layer {
            display-name = "numbers";

            bindings = <
&trans         &kp EXCL        &kp AT          &kp HASH        &kp DLLR        &kp PRCNT                                       &trans              &trans          &trans          &trans          &trans              &trans
&kp GRAVE      &kp N1          &kp N2          &kp N3          &kp N4          &kp N5                                          &kp ASTRK           &kp N7          &kp N8          &kp N9          &trans              &trans
&none          &kp N6          &kp N7          &kp N8          &kp N9          &kp N0                                          &kp MINUS           &kp N4          &kp N5          &kp N6          &trans              &trans
&trans         &kp CARET       &kp AMPS        &kp ASTRK       &kp LPAR        &kp RPAR        &trans          &trans          &kp PLUS            &kp N1          &kp N2          &kp N3          &trans              &trans
               &trans          &trans          &trans          &trans          &trans                                          &kp ENTER           &kp SPACE       &kp N0          &kp DOT         &kp ENTER
            >;

            sensor-bindings = <&inc_dec_kp C_VOL_UP C_VOL_DN &inc_dec_kp PG_UP PG_DN>;
        };

        // ── Layer 6 — Navigation ─────────────────────────────────

        nav_layer {
            display-name = "nav";

            bindings = <
&trans         &trans              &trans              &trans              &trans              &trans                                          &trans          &trans          &trans          &trans          &trans          &kp DELETE
&trans         &trans              &trans              &trans              &trans              &trans                                          &none           &kp PG_UP       &kp UP          &kp PG_DN       &kp LG(LBKT)    &kp LG(RBKT)
&trans         &kp LG(A)           &trans              &trans              &trans              &trans                                          &kp HOME        &kp LEFT        &kp DOWN        &kp RIGHT       &none           &trans
&trans         &kp LG(Z)          &kp LG(X)          &kp LG(C)          &kp LG(V)          &none           &trans          &trans          &kp END         &msc SCRL_UP    &none           &msc SCRL_DOWN  &none           &none
               &trans              &trans              &trans              &trans              &trans                                          &none           &trans          &trans          &trans          &trans
            >;

            sensor-bindings = <&inc_dec_kp C_VOL_UP C_VOL_DN &inc_dec_kp PG_UP PG_DN>;
        };

        // ── Layer 7 — Adjust (conditional: NAV + NUMBERS) ───────

        adjust_layer {
            display-name = "adjust";

            bindings = <
&bt BT_CLR_ALL &bt BT_SEL 0    &bt BT_SEL 1    &bt BT_SEL 2    &bt BT_SEL 3    &bt BT_SEL 4                                    &bt BT_CLR          &none           &none           &none           &none               &none
&ext_power EP_TOG &none        &none           &none           &none           &studio_unlock                                  &none               &none           &none           &none           &none               &none
&none          &none           &none           &none           &none           &tog HD_VIB_F                                   &tog HD_PROM         &tog HD_AU_PLUS    &tog MOUSE      &none           &none               &none
&none          &none           &none           &none           &none           &none           &none           &none           &none               &none           &none           &none           &none               &none
               &none           &none           &none           &none           &none                                           &none               &none           &none           &none           &none
            >;

            sensor-bindings = <&inc_dec_kp C_VOL_UP C_VOL_DN &inc_dec_kp PG_UP PG_DN>;
        };

        // ── Layer 8 — F-keys + utilities ─────────────────────────

        fkeys_layer {
            display-name = "fkeys";

            bindings = <
&kp LG(Z)      &kp F1          &kp F2          &kp F3          &kp F4          &kp F5                                          &trans              &trans          &trans          &trans          &trans              &trans
&kp LG(X)      &kp F6          &kp F7          &kp F8          &kp F9          &kp F10                                         &trans              &trans          &trans          &trans          &trans              &kp C_MUTE
&kp LG(C)      &kp LG(A)       &trans          &trans          &kp F11         &kp F12                                          &trans              &trans          &trans          &trans          &trans              &kp C_VOL_UP
&kp LG(V)      &kp LG(Z)       &kp LG(X)       &kp LG(C)       &kp LG(V)       &trans          &trans          &trans          &trans              &trans          &trans          &trans          &trans              &kp C_VOL_DN
               &bt BT_SEL 0    &bt BT_SEL 1    &bt BT_SEL 2    &bt BT_SEL 3    &bt BT_SEL 4                                          &trans              &trans          &trans          &trans          &trans
            >;

            sensor-bindings = <&inc_dec_kp C_VOL_UP C_VOL_DN &inc_dec_kp PG_UP PG_DN>;
        };

    };
};
